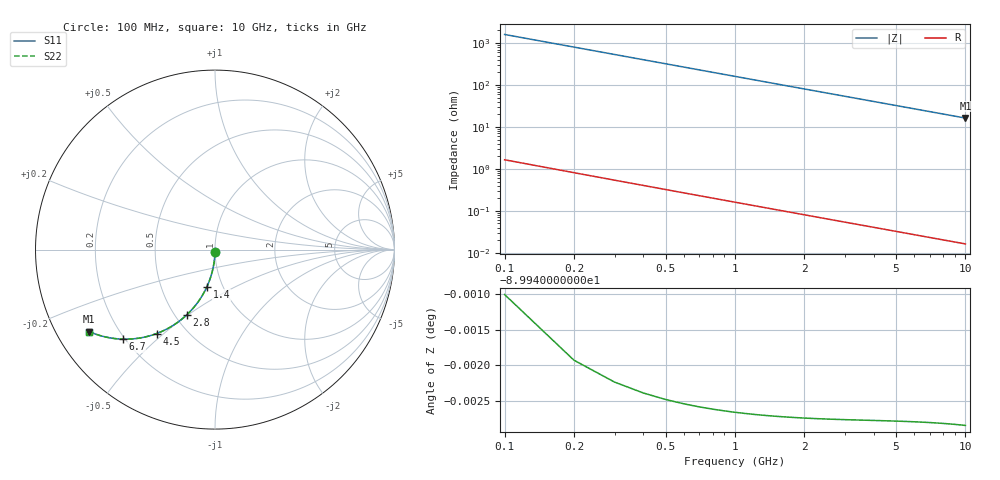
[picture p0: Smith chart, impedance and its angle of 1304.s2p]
# Hz S RI R 50.00
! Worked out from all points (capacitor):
!   100 points, 100 MHz to 10 GHz, reference 50 ohm
!   read as one part in shunt: C = 991 fF near 100 MHz
!   lowest |Z| = 16.3 ohm at 10 GHz (marker M1)
!   S11 on the Smith chart (normalised r, x): 100 MHz: 1.00, -0.03; 1.4 GHz: 0.84, -0.37; 2.8 GHz: 0.57, -0.49; 4.5 GHz: 0.34, -0.47; 6.7 GHz: 0.19, -0.39; 10 GHz: 0.10, -0.29
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1e8  -0.000257 -0.0156  0.9997 -0.0156  0.9997 -0.0156  -0.000257 -0.0156
2e8  -0.001 -0.0311  0.999 -0.0311  0.999 -0.0311  -0.001 -0.0311
3e8  -0.00222 -0.0466  0.9978 -0.0466  0.9978 -0.0466  -0.00222 -0.0466
4e8  -0.00392 -0.062  0.9961 -0.0621  0.9961 -0.0621  -0.00392 -0.062
5e8  -0.0061 -0.0773  0.9939 -0.0774  0.9939 -0.0774  -0.0061 -0.0773
6e8  -0.00873 -0.0925  0.9913 -0.0926  0.9913 -0.0926  -0.00873 -0.0925
7e8  -0.0118 -0.1076  0.9882 -0.1077  0.9882 -0.1077  -0.0118 -0.1076
9e8  -0.0193 -0.1372  0.9807 -0.1373  0.9807 -0.1373  -0.0193 -0.1372
1.1e9  -0.0286 -0.166  0.9714 -0.1661  0.9714 -0.1661  -0.0286 -0.166
1.4e9  -0.0453 -0.2074  0.9547 -0.2076  0.9547 -0.2076  -0.0453 -0.2074
1.8e9  -0.0725 -0.2588  0.9275 -0.259  0.9275 -0.259  -0.0725 -0.2588
2.3e9  -0.1129 -0.3158  0.8871 -0.3161  0.8871 -0.3161  -0.1129 -0.3158
2.8e9  -0.1582 -0.3643  0.8418 -0.3646  0.8418 -0.3646  -0.1582 -0.3643
3.4e9  -0.2165 -0.4111  0.7835 -0.4116  0.7835 -0.4116  -0.2165 -0.4111
3.9e9  -0.2661 -0.4412  0.7339 -0.4417  0.7339 -0.4417  -0.2661 -0.4412
4.5e9  -0.3251 -0.4676  0.6749 -0.4682  0.6749 -0.4682  -0.3251 -0.4676
5.1e9  -0.3817 -0.485  0.6183 -0.4856  0.6183 -0.4856  -0.3817 -0.485
5.9e9  -0.4518 -0.4968  0.5482 -0.4976  0.5482 -0.4976  -0.4518 -0.4968
6.7e9  -0.5148 -0.4989  0.4852 -0.4997  0.4852 -0.4997  -0.5148 -0.4989
7.5e9  -0.5703 -0.4941  0.4297 -0.495  0.4297 -0.495  -0.5703 -0.4941
8.4e9  -0.6243 -0.4832  0.3756 -0.4843  0.3756 -0.4843  -0.6243 -0.4832
1e10  -0.7015 -0.4564  0.2985 -0.4577  0.2985 -0.4577  -0.7015 -0.4564
